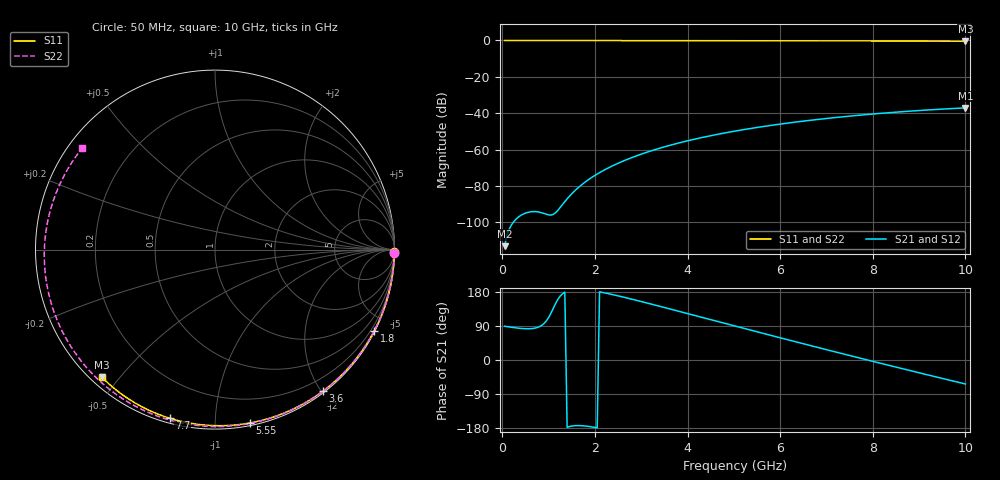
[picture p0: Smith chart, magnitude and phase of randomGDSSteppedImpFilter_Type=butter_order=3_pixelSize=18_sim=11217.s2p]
! freq	dB(S11)	phase(S11)	dB(S12)	phase(S12)
!  dB(S21)	phase(S21)	dB(S22)	phase(S22)
!S-par simulation data
#  GHz  S  DB  R 50
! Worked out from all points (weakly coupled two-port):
!   200 points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, 50 MHz to 10 GHz, reference 50 ohm
!   highest |S21| = -37.07 dB at 10 GHz (marker M1); lowest = -113.1 dB at 50 MHz (marker M2)
!   lowest |S11| = -0.4 dB at 10 GHz (marker M3), VSWR 39.04, Z = 1.54 - j22.5 ohm
!   |S11| at or under -10 dB: nowhere
!   |S22| runs from -0.6 to 0.0 dB; largest |S21 - S12| = 0
!   S11 on the Smith chart (normalised r, x): 50 MHz: open; 1.8 GHz: 0.04, -4.17; 3.6 GHz: 0.02, -2.02; 5.55 GHz: 0.02, -1.22; 7.7 GHz: 0.02, -0.77; 10 GHz: 0.03, -0.45
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0.05  -0.00 -0.8  -113.08 89.1  -113.08 89.1  -0.00 -1.2
0.8  -0.02 -12.1  -94.38 87.8  -94.38 87.8  -0.02 -19.1
1.65  -0.03 -24.7  -80.68 -173.1  -80.68 -173.1  -0.05 -39.1
1.7  -0.03 -25.5  -79.61 -173.3  -79.61 -173.3  -0.05 -40.2
1.75  -0.03 -26.2  -78.60 -173.7  -78.60 -173.7  -0.05 -41.4
1.8  -0.03 -26.9  -77.64 -174.3  -77.64 -174.3  -0.05 -42.5
2.1  -0.04 -31.3  -72.66 179.9  -72.66 179.9  -0.06 -49.4
2.5  -0.05 -37.1  -67.51 169.3  -67.51 169.3  -0.07 -58.4
2.9  -0.06 -42.9  -63.40 157.4  -63.40 157.4  -0.09 -67.2
3.4  -0.07 -49.9  -59.22 141.7  -59.22 141.7  -0.10 -78.0
3.6  -0.07 -52.7  -57.77 135.4  -57.77 135.4  -0.11 -82.3
4.3  -0.09 -62.3  -53.43 112.9  -53.43 112.9  -0.14 -97.0
5.05  -0.11 -72.2  -49.71 88.8  -49.71 88.8  -0.17 -112.2
5.55  -0.13 -78.7  -47.63 72.9  -47.63 72.9  -0.20 -122.3
6.15  -0.15 -86.3  -45.46 53.9  -45.46 53.9  -0.24 -134.2
6.7  -0.18 -93.1  -43.73 36.6  -43.73 36.6  -0.28 -145.2
7.2  -0.21 -99.1  -42.34 21.1  -42.34 21.1  -0.32 -155.2
7.7  -0.24 -105.1  -41.11 5.6  -41.11 5.6  -0.37 -165.4
8.35  -0.29 -112.7  -39.70 -14.2  -39.70 -14.2  -0.44 -179.1
8.8  -0.33 -117.9  -38.86 -27.8  -38.86 -27.8  -0.48 171.0
9.2  -0.36 -122.4  -38.19 -39.7  -38.19 -39.7  -0.53 161.9
10  -0.45 -131.5  -37.07 -63.3  -37.07 -63.3  -0.62 142.7
